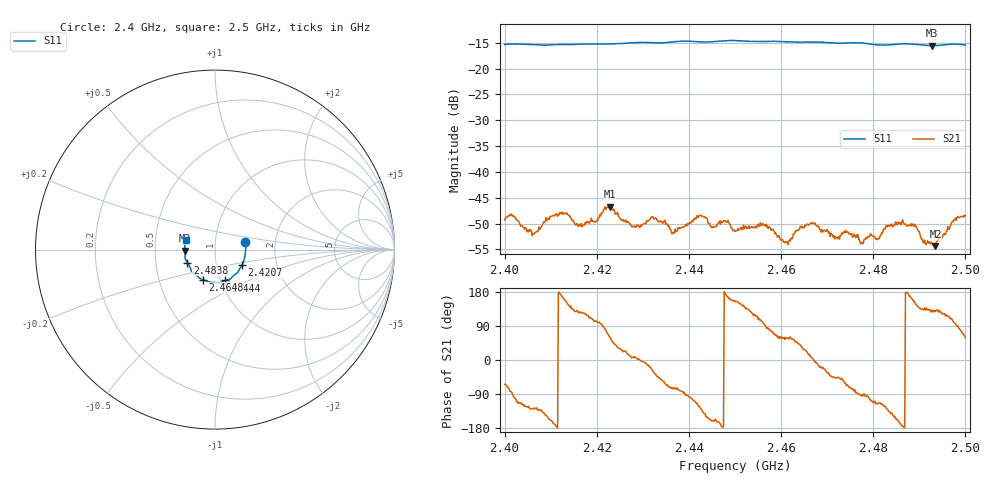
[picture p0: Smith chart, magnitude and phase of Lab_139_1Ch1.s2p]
# Hz S RI R 50
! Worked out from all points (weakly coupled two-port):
!   601 points, 2.4 GHz to 2.5 GHz, reference 50 ohm
!   highest |S21| = -46.69 dB at 2.4228 GHz (marker M1); lowest = -54.4 dB at 2.4935 GHz (marker M2)
!   lowest |S11| = -15.6 dB at 2.4927 GHz (marker M3), VSWR 1.40, Z = 35.7 - j0.475 ohm
!   |S11| at or under -10 dB: start of sweep to end of sweep
!   S12 and S22 are empty: the file has one direction only
!   S11 on the Smith chart (normalised r, x): 2.4 GHz: 1.39, +0.12; 2.4207 GHz: 1.33, -0.24; 2.444 GHz: 1.05, -0.37; 2.4648 GHz: 0.83, -0.29; 2.4838 GHz: 0.73, -0.11; 2.5 GHz: 0.72, +0.08
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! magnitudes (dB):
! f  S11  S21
! 2.4 GHz  -15.3  -49.3
! 2.4063 GHz  -15.3  -52.0
! 2.4125 GHz  -15.3  -47.7
! 2.4167 GHz  -15.2  -50.0
! 2.4207 GHz  -15.2  -48.3
! 2.4228 GHz  -15.2  -46.7
! 2.428 GHz  -15.0  -50.6
! 2.4333 GHz  -15.0  -49.6
! 2.4367 GHz  -14.8  -52.0
! 2.444 GHz  -14.8  -49.1
! 2.45 GHz  -14.6  -51.5
! 2.456 GHz  -14.8  -50.0
! 2.461 GHz  -14.8  -53.5
! 2.4648 GHz  -14.9  -50.7
! 2.4667 GHz  -14.8  -49.8
! 2.4773 GHz  -15.0  -53.9
! 2.4833 GHz  -15.4  -50.4
! 2.4838 GHz  -15.4  -50.4
! 2.4887 GHz  -15.3  -50.2
! 2.4927 GHz  -15.6  -53.6
! 2.4935 GHz  -15.6  -54.4
! 2.5 GHz  -15.4  -48.5
